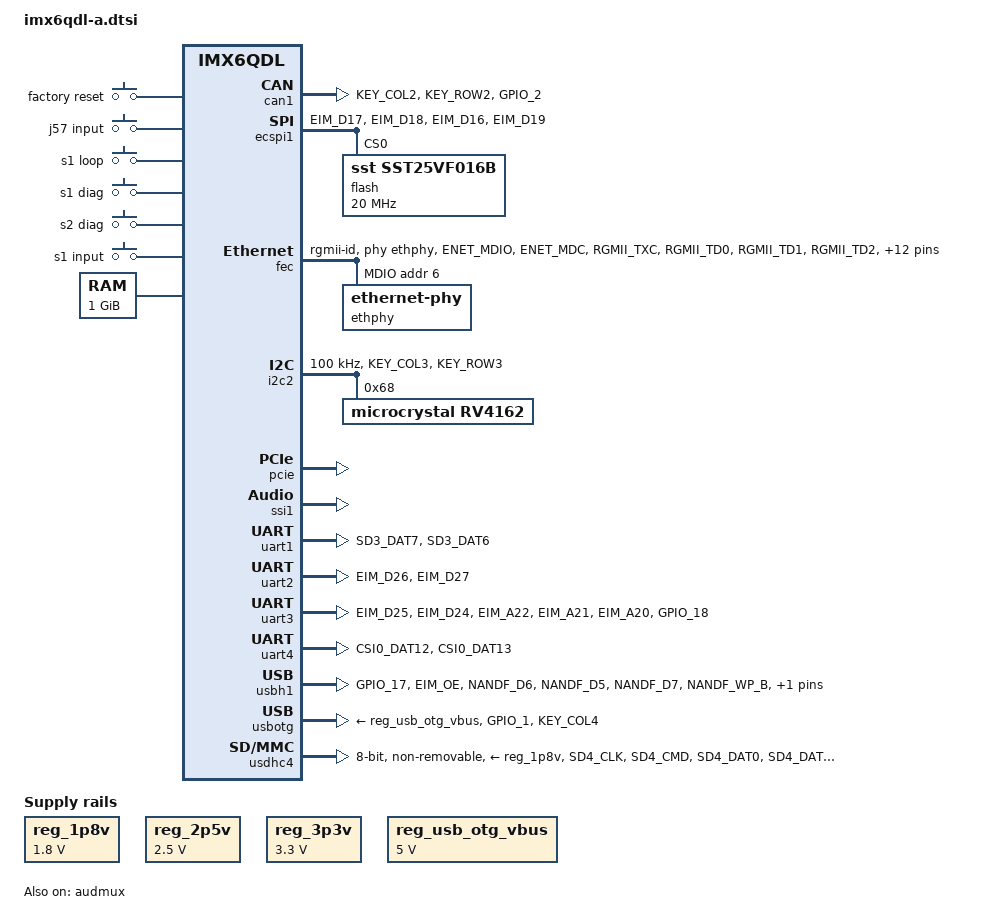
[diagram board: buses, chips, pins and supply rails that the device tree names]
// SPDX-License-Identifier: GPL-2.0 OR X11
/*
 * Copyright 2015 Boundary Devices, Inc.
 */
#include <dt-bindings/gpio/gpio.h>
#include <dt-bindings/input/input.h>

&iomuxc {
	pinctrl-names = "default";
	pinctrl-0 = <&pinctrl_hog>;

	pinctrl_audmux: audmuxgrp {
		fsl,pins = <
			/* To MU609 */
			MX6QDL_PAD_CSI0_DAT7__AUD3_RXD		0x130b0
			MX6QDL_PAD_CSI0_DAT4__AUD3_TXC		0x130b0
			MX6QDL_PAD_CSI0_DAT5__AUD3_TXD		0x110b0
			MX6QDL_PAD_CSI0_DAT6__AUD3_TXFS		0x130b0
		>;
	};

	pinctrl_ecspi1: ecspi1grp {
		fsl,pins = <
			MX6QDL_PAD_EIM_D17__ECSPI1_MISO		0x100b1
			MX6QDL_PAD_EIM_D18__ECSPI1_MOSI		0x100b1
			MX6QDL_PAD_EIM_D16__ECSPI1_SCLK		0x000b1
#define GP_ECSPI1_NOR_CS	<&gpio3 19 GPIO_ACTIVE_LOW>
			MX6QDL_PAD_EIM_D19__GPIO3_IO19		0x0b0b1
		>;
	};

	pinctrl_enet: enetgrp {
		fsl,pins = <
			MX6QDL_PAD_ENET_MDIO__ENET_MDIO		0x1b0b0
			MX6QDL_PAD_ENET_MDC__ENET_MDC		0x1b0b0
			MX6QDL_PAD_RGMII_TXC__RGMII_TXC		0x100b0
			MX6QDL_PAD_RGMII_TD0__RGMII_TD0		0x100b0
			MX6QDL_PAD_RGMII_TD1__RGMII_TD1		0x100b0
			MX6QDL_PAD_RGMII_TD2__RGMII_TD2		0x100b0
			MX6QDL_PAD_RGMII_TD3__RGMII_TD3		0x100b0
			MX6QDL_PAD_RGMII_TX_CTL__RGMII_TX_CTL	0x100b0
			MX6QDL_PAD_ENET_REF_CLK__ENET_TX_CLK	0x100b0
			MX6QDL_PAD_RGMII_RXC__RGMII_RXC		0x1b0b0
			MX6QDL_PAD_RGMII_RD0__RGMII_RD0		0x1b0b0
			MX6QDL_PAD_RGMII_RD1__RGMII_RD1		0x1b0b0
			MX6QDL_PAD_RGMII_RD2__RGMII_RD2		0x1b0b0
			MX6QDL_PAD_RGMII_RD3__RGMII_RD3		0x1b0b0
			MX6QDL_PAD_RGMII_RX_CTL__RGMII_RX_CTL	0x1b0b0
#define GP_ENET_PHY_RESET	<&gpio1 27 GPIO_ACTIVE_LOW>
			MX6QDL_PAD_ENET_RXD0__GPIO1_IO27	0x030b0
#define GPIRQ_ENET_PHY		<&gpio1 28 IRQ_TYPE_LEVEL_LOW>
			MX6QDL_PAD_ENET_TX_EN__GPIO1_IO28	0x1b0b0
#define GPIRQ_ENET		<&gpio1 6 IRQ_TYPE_LEVEL_HIGH>
			MX6QDL_PAD_GPIO_6__ENET_IRQ		0x000b1
		>;
	};

	pinctrl_flexcan1: flexcan1grp {
		fsl,pins = <
			MX6QDL_PAD_KEY_COL2__FLEXCAN1_TX	0x1b0b0
			MX6QDL_PAD_KEY_ROW2__FLEXCAN1_RX	0x1b0b0
#define GP_FLEXCAN1_STANDBY	<&gpio1 2 GPIO_ACTIVE_HIGH>
			MX6QDL_PAD_GPIO_2__GPIO1_IO02		0x0b0b0
		>;
	};

	pinctrl_gpio_keys: gpio-keysgrp {
		fsl,pins = <
#define GP_S0_FACTORY_RESET	<&gpio4 6 GPIO_ACTIVE_LOW>
			MX6QDL_PAD_KEY_COL0__GPIO4_IO06		0x1b0b0
#define GP_J57_INPUT		<&gpio6 6 GPIO_ACTIVE_LOW>
			MX6QDL_PAD_EIM_A23__GPIO6_IO06		0x1b0b0
#define GP_S1_LOOPBACK		<&gpio4 5 GPIO_ACTIVE_LOW>
			MX6QDL_PAD_GPIO_19__GPIO4_IO05		0x1b0b0
#define GP_S1_DIAG1		<&gpio4 7 GPIO_ACTIVE_LOW>
			MX6QDL_PAD_KEY_ROW0__GPIO4_IO07		0x1b0b0
#define GP_S1_DIAG2		<&gpio4 8 GPIO_ACTIVE_LOW>
			MX6QDL_PAD_KEY_COL1__GPIO4_IO08		0x1b0b0
#define GP_S1_INPUT		<&gpio2 27 GPIO_ACTIVE_LOW>
			MX6QDL_PAD_EIM_LBA__GPIO2_IO27          0x1b0b0
		>;
	};

	pinctrl_hog: hoggrp {
		fsl,pins = <
			MX6QDL_PAD_EIM_CS1__GPIO2_IO24		0x1b0b0		/* Spare */
			MX6QDL_PAD_NANDF_CS1__GPIO6_IO14	0x1b0b0		/* Spare */
			MX6QDL_PAD_EIM_A19__GPIO2_IO19		0x130b0		/* Led0 */
			MX6QDL_PAD_EIM_A18__GPIO2_IO20		0x130b0		/* Led1 */
			MX6QDL_PAD_EIM_A16__GPIO2_IO22		0x130b0		/* LedRed */
			MX6QDL_PAD_EIM_A17__GPIO2_IO21		0x130b0		/* Led2 */
			MX6QDL_PAD_GPIO_3__GPIO1_IO03		0x1b0b0		/* rxact */
			MX6QDL_PAD_GPIO_4__GPIO1_IO04		0x1b0b0		/* txact */
		>;
	};

	pinctrl_i2c2: i2c2grp {
		fsl,pins = <
			MX6QDL_PAD_KEY_COL3__I2C2_SCL		0x4001b8b1
			MX6QDL_PAD_KEY_ROW3__I2C2_SDA		0x4001b8b1
		>;
	};

	pinctrl_i2c2_1: i2c2_1grp {
		fsl,pins = <
#define GP_I2C2_SCL	<&gpio4 12 GPIO_OPEN_DRAIN>
			MX6QDL_PAD_KEY_COL3__GPIO4_IO12		0x4001b8b1
#define GP_I2C2_SDA	<&gpio4 13 GPIO_OPEN_DRAIN>
			MX6QDL_PAD_KEY_ROW3__GPIO4_IO13		0x4001b8b1
		>;
	};

	pinctrl_i2c2_rv4162: i2c2-rv4162grp {
		fsl,pins = <
#define GPIRQ_RTC_RV4162	<&gpio4 15 IRQ_TYPE_LEVEL_LOW>
			MX6QDL_PAD_KEY_ROW4__GPIO4_IO15		0x1b0b0
		>;
	};

	pinctrl_reg_usb_otg_vbus: reg-usb-otg-vbusgrp {
		fsl,pins = <
#define GP_REG_USBOTG	<&gpio3 22 GPIO_ACTIVE_HIGH>
			MX6QDL_PAD_EIM_D22__GPIO3_IO22		0x030b0
		>;
	};

	pinctrl_uart1: uart1grp {
		fsl,pins = <
			MX6QDL_PAD_SD3_DAT7__UART1_TX_DATA	0x1b0b1
			MX6QDL_PAD_SD3_DAT6__UART1_RX_DATA	0x1b0b1
		>;
	};

	pinctrl_uart2: uart2grp {
		fsl,pins = <
			MX6QDL_PAD_EIM_D26__UART2_TX_DATA	0x1b0b1
			MX6QDL_PAD_EIM_D27__UART2_RX_DATA	0x1b0b1
		>;
	};

	pinctrl_uart3: uart3grp {
		fsl,pins = <
			MX6QDL_PAD_EIM_D25__UART3_RX_DATA	0x1b0b1
			MX6QDL_PAD_EIM_D24__UART3_TX_DATA	0x1b0b1
#define GP_UART3_RX_EN	<&gpio2 16 GPIO_ACTIVE_HIGH>
			MX6QDL_PAD_EIM_A22__GPIO2_IO16		0x030b0		/* RS485 RX Enable: pull down */
#define GP_UART3_TX_EN	<&gpio2 17 GPIO_ACTIVE_HIGH>
			MX6QDL_PAD_EIM_A21__GPIO2_IO17		0x030b0		/* RS485 DEN: pull down */
#define GP_UART3_RS485_EN <&gpio2 18 GPIO_ACTIVE_HIGH>
			MX6QDL_PAD_EIM_A20__GPIO2_IO18		0x030b0		/* RS485/!RS232 Select: pull down (rs232) */
#define GP_UART3_AON	<&gpio7 13 GPIO_ACTIVE_HIGH>
			MX6QDL_PAD_GPIO_18__GPIO7_IO13		0x030b0		/* ON: pull down */
		>;
	};

	pinctrl_uart4: uart4grp {
		fsl,pins = <
			MX6QDL_PAD_CSI0_DAT12__UART4_TX_DATA	0x1b0b1
			MX6QDL_PAD_CSI0_DAT13__UART4_RX_DATA	0x1b0b1
		>;
	};

	pinctrl_usbh1: usbh1grp {
		fsl,pins = <
#define GP_USBH1_HUB_RESET	<&gpio7 12 GPIO_ACTIVE_LOW>
			MX6QDL_PAD_GPIO_17__GPIO7_IO12		0x0b0b0
#define GP_AX88772A_RESET	<&gpio2 25 GPIO_ACTIVE_LOW>
			MX6QDL_PAD_EIM_OE__GPIO2_IO25		0x0b0b0
#define GP_MODEM_RESET	<&gpio2 6 GPIO_ACTIVE_LOW>
			MX6QDL_PAD_NANDF_D6__GPIO2_IO06		0x0b0b0
#define GP_MODEM_OFF	<&gpio2 5 GPIO_ACTIVE_HIGH>
			MX6QDL_PAD_NANDF_D5__GPIO2_IO05		0x0b0b0
			MX6QDL_PAD_NANDF_D7__GPIO2_IO07		0x1b0b0
			MX6QDL_PAD_NANDF_WP_B__GPIO6_IO09	0x1b0b0
			MX6QDL_PAD_NANDF_RB0__GPIO6_IO10	0x1b0b0
		>;
	};

	pinctrl_usbotg: usbotggrp {
		fsl,pins = <
			MX6QDL_PAD_GPIO_1__USB_OTG_ID		0x17059
			MX6QDL_PAD_KEY_COL4__USB_OTG_OC		0x1b0b0
		>;
	};

	pinctrl_usdhc4: usdhc4grp {
		fsl,pins = <
			MX6QDL_PAD_SD4_CLK__SD4_CLK		0x10059
			MX6QDL_PAD_SD4_CMD__SD4_CMD		0x17059
			MX6QDL_PAD_SD4_DAT0__SD4_DATA0		0x17059
			MX6QDL_PAD_SD4_DAT1__SD4_DATA1		0x17059
			MX6QDL_PAD_SD4_DAT2__SD4_DATA2		0x17059
			MX6QDL_PAD_SD4_DAT3__SD4_DATA3		0x17059
			MX6QDL_PAD_SD4_DAT4__SD4_DATA4		0x17059
			MX6QDL_PAD_SD4_DAT5__SD4_DATA5		0x17059
			MX6QDL_PAD_SD4_DAT6__SD4_DATA6		0x17059
			MX6QDL_PAD_SD4_DAT7__SD4_DATA7		0x17059
#define GP_EMMC_RESET	<&gpio2 0 GPIO_ACTIVE_LOW>
			MX6QDL_PAD_NANDF_D0__GPIO2_IO00		0x1b0b0
		>;
	};
};

/ {
	aliases {
		i2c0 = &i2c2;
		mmc0 = &usdhc4;
	};

	gpio-keys {
		compatible = "gpio-keys";
		pinctrl-names = "default";
		pinctrl-0 = <&pinctrl_gpio_keys>;

		factory_reset {
			label = "factory reset";
			gpios = GP_S0_FACTORY_RESET;
			linux,code = <KEY_BACK>;
		};

		j57_input {
			label = "j57 input";
			gpios = GP_J57_INPUT;
			linux,code = <KEY_HOMEPAGE>;
		};

		s1_loop {
			label = "s1 loop";
			gpios = GP_S1_LOOPBACK;
			linux,code = <KEY_MENU>;
		};

		s1_diag {
			label = "s1 diag";
			gpios = GP_S1_DIAG1;
			linux,code = <KEY_SEARCH>;
			gpio-key,wakeup;
		};

		s2_diag {
			label = "s2 diag";
			gpios = GP_S1_DIAG2;
			linux,code = <KEY_VOLUMEDOWN>;
		};

		s1_input {
			label = "s1 input";
			gpios = GP_S1_INPUT;
			linux,code = <KEY_VOLUMEUP>;
		};
	};

	memory {
		reg = <0x10000000 0x40000000>;
	};

	reg_1p8v: regulator-1v8 {
		compatible = "regulator-fixed";
		regulator-always-on;
		regulator-max-microvolt = <1800000>;
		regulator-min-microvolt = <1800000>;
		regulator-name = "1P8V";
	};

	reg_2p5v: regulator-2v5 {
		compatible = "regulator-fixed";
		regulator-always-on;
		regulator-max-microvolt = <2500000>;
		regulator-min-microvolt = <2500000>;
		regulator-name = "2P5V";
	};

	reg_3p3v: regulator-3v3 {
		compatible = "regulator-fixed";
		regulator-always-on;
		regulator-max-microvolt = <3300000>;
		regulator-min-microvolt = <3300000>;
		regulator-name = "3P3V";
	};

	reg_usb_otg_vbus: regulator-usb-otg-vbus {
		compatible = "regulator-fixed";
		enable-active-high;
		gpio = GP_REG_USBOTG;
		pinctrl-names = "default";
		pinctrl-0 = <&pinctrl_reg_usb_otg_vbus>;
		regulator-max-microvolt = <5000000>;
		regulator-min-microvolt = <5000000>;
		regulator-name = "usb_otg_vbus";
	};

	v4l2_out {
		compatible = "fsl,mxc_v4l2_output";
		status = "okay";
	};
};

&audmux {
	pinctrl-names = "default";
	pinctrl-0 = <&pinctrl_audmux>;
	status = "okay";
};

&can1 {
	pinctrl-names = "default";
	pinctrl-0 = <&pinctrl_flexcan1>;
	status = "okay";
	trx-stby-gpio = GP_FLEXCAN1_STANDBY;
};

&ecspi1 {
	cs-gpios = GP_ECSPI1_NOR_CS;
	pinctrl-names = "default";
	pinctrl-0 = <&pinctrl_ecspi1>;
	status = "okay";

	flash: m25p80@0 {
		compatible = "sst,sst25vf016b";
		reg = <0>;
		spi-max-frequency = <20000000>;
		#address-cells = <1>;
		#size-cells = <1>;

		mtd@00000000 {
			label = "U-Boot";
			reg = <0x0 0xC0000>;
		};

		mtd@000C0000 {
			label = "env";
			reg = <0xC0000 0x2000>;
		};
		mtd@000C2000 {
			label = "splash";
			reg = <0xC2000 0x13e000>;
		};
	};
};

&fec {
	fsl,err006687-workaround-present;
	interrupts-extended = GPIRQ_ENET,
			      <&gpc 0 119 IRQ_TYPE_LEVEL_HIGH>;
	phy-handle = <&ethphy>;
	phy-mode = "rgmii-id";
#if 0
	phy-reset-gpios = GP_ENET_PHY_RESET;
#endif
	pinctrl-names = "default";
	pinctrl-0 = <&pinctrl_enet>;
	status = "okay";

	mdio {
		#address-cells = <0>;
		#size-cells = <1>;

		ethphy: ethernet-phy@6 {
			reg = <6>;
			interrupts-extended = GPIRQ_ENET_PHY;
			rxc-skew-ps = <3000>;
			rxd0-skew-ps = <0>;
			rxd1-skew-ps = <0>;
			rxd2-skew-ps = <0>;
			rxd3-skew-ps = <0>;
			rxdv-skew-ps = <0>;
			txc-skew-ps = <3000>;
			txd0-skew-ps = <0>;
			txd1-skew-ps = <0>;
			txd2-skew-ps = <0>;
			txd3-skew-ps = <0>;
			txen-skew-ps = <0>;
		};
	};
};

&i2c2 {
	clock-frequency = <100000>;
	pinctrl-names = "default", "gpio";
	pinctrl-0 = <&pinctrl_i2c2>;
	pinctrl-1 = <&pinctrl_i2c2_1>;
	scl-gpios = GP_I2C2_SCL;
	sda-gpios = GP_I2C2_SDA;
	status = "okay";

	rv4162@68 {
		compatible = "microcrystal,rv4162";
		pinctrl-names = "default";
		pinctrl-0 = <&pinctrl_i2c2_rv4162>;
		reg = <0x68>;
		interrupts-extended = GPIRQ_RTC_RV4162;
	};
};

&pcie {
	status = "okay";
};

&ssi1 {
	fsl,mode = "i2s-slave";
	status = "okay";
};

&uart1 {
	pinctrl-names = "default";
	pinctrl-0 = <&pinctrl_uart1>;
	status = "okay";
};

&uart2 {
	pinctrl-names = "default";
	pinctrl-0 = <&pinctrl_uart2>;
	status = "okay";
};

&uart3 {
	control-gpios = GP_UART3_RX_EN, GP_UART3_TX_EN, GP_UART3_RS485_EN, GP_UART3_AON;
	linux,rs485-enabled-at-boot-time;
#define M_RX_EN		1
#define M_TX_EN		2
#define M_RS485		4
#define M_AON		8
	off_levels = <0>;
	pinctrl-names = "default";
	pinctrl-0 = <&pinctrl_uart3>;
	rxact_levels = <0>;
	rxact_mask = <0>;
	rs232_levels = <M_RX_EN>;
	rs232_txen_levels = <0>;
	rs232_txen_mask = <0>;
	rs485_levels = <0xd>;
	rs485_txen_levels = <M_TX_EN>;
	rs485_txen_mask = <0x3>;
	status = "okay";
	uart-has-rs485-half-duplex;
};

&uart4 {
	pinctrl-names = "default";
	pinctrl-0 = <&pinctrl_uart4>;
	status = "okay";
};

&usbh1 {
	disable-over-current;
	pinctrl-names = "default";
	pinctrl-0 = <&pinctrl_usbh1>;
	reset-gpios = GP_USBH1_HUB_RESET, GP_AX88772A_RESET, GP_MODEM_RESET;
	status = "okay";
};

&usbotg {
	pinctrl-names = "default";
	pinctrl-0 = <&pinctrl_usbotg>;
	status = "okay";
	vbus-supply = <&reg_usb_otg_vbus>;
};

&usdhc4 {
	bus-width = <8>;
	keep-power-in-suspend;
	non-removable;
	pinctrl-names = "default";
	pinctrl-0 = <&pinctrl_usdhc4>;
	status = "okay";
	vmmc-supply = <&reg_1p8v>;
	vqmmc-1-8-v;
};
